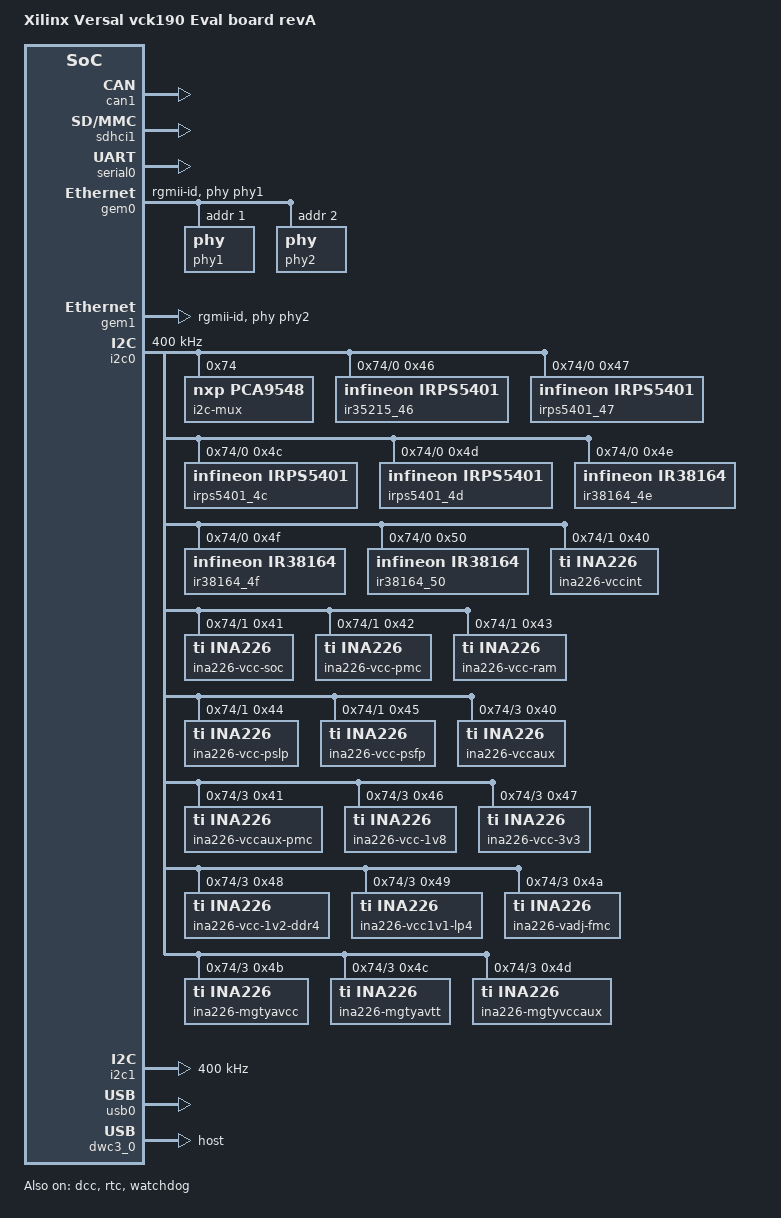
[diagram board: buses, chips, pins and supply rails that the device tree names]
// SPDX-License-Identifier: GPL-2.0
/*
 * dts file for Xilinx Versal VCK190 revA
 *
 * (C) Copyright 2019, Xilinx, Inc.
 *
 * Michal Simek <michal.simek@xilinx.com>
 */

/ {
	compatible = "xlnx,versal-vck190-revA", "xlnx,versal";
	model = "Xilinx Versal vck190 Eval board revA";

	chosen {
		bootargs = "console=ttyAMA0 earlycon=pl011,mmio32,0xFF000000,115200n8 clk_ignore_unused";
		stdout-path = "serial0:115200";
	};

	aliases {
		serial0 = &serial0;
		ethernet0 = &gem0;
		ethernet1 = &gem1;
		i2c0 = &i2c0;
		i2c1 = &i2c1;
		mmc0 = &sdhci1;
		spi0 = &qspi;
		usb0 = &usb0;
		rtc0 = &rtc;
	};
};

/* PMC_MIO 0 -12 - configuration header QSPI/OSPI/EMMC */
/* FIXME PMC_MIO37 ZU4_TRIGGER/PMC_MIO37/38 PCIE */

&can1 { /* MIO40-41 */
	status = "okay";
};

&dcc {
	status = "okay";
};

&rtc {
	status = "okay";
};

&gpio0 {
	status = "okay";
};

&gpio1 {
	status = "okay";
};

&watchdog {
	status = "okay";
};

&sdhci1 { /* PMC_MIO26-36/51 */
	status = "okay";
	xlnx,mio_bank = <1>;
	no-1-8-v;
};

&serial0 { /* PMC_MIO42/43 */
	status = "okay";
};

&gem0 { /* PMC_MIO_48, LPD_MIO0-11/24/25 */
	status = "okay";
	phy-handle = <&phy1>; /* u128 */
	phy-mode = "rgmii-id";
	phy1: phy@1 {
		reg = <1>;
		ti,rx-internal-delay = <0xb>;
		ti,tx-internal-delay = <0xa>;
		ti,fifo-depth = <1>;
		ti,dp83867-rxctrl-strap-quirk;
	};
	phy2: phy@2 {
		reg = <2>;
		ti,rx-internal-delay = <0xb>;
		ti,tx-internal-delay = <0xa>;
		ti,fifo-depth = <1>;
		ti,dp83867-rxctrl-strap-quirk;
	};
};

&gem1 { /* PMC_MIO_49, LPD_MIO12-23 */
	status = "okay";
	phy-handle = <&phy2>; /* u134 */
	phy-mode = "rgmii-id";
};

&i2c0 { /* PMC_MIO46/47 */
	status = "okay";
	clock-frequency = <400000>;
	i2c-mux@74 { /* u33 */
		compatible = "nxp,pca9548";
		#address-cells = <1>;
		#size-cells = <0>;
		reg = <0x74>;
		i2c@0 { /* PMBUS */
			#address-cells = <1>;
			#size-cells = <0>;
			reg = <0>;
		
			/* u152 IR35215 0x16/0x41 vcc_soc */ 
			/* u160 irps5401 0x17/0x45 vcc_psfp */
			/* u167 irps5401 0x1c/0x46 vccaux_pmc */
			/* u175 irps5401 0x1d/0x4d mgtyvccaux */
			/* u185 ir38164 0x1e/0x4a vadj_fmc */
			/* u187 ir38164 0x1F/0x4b mgtyavcc */
			/* u189 ir38164 0x20/0x4c mgtyavtt */

			ir35215_46: ir35215@46 { /* IR35215 - u152 */
				compatible = "infineon,irps5401";
				reg = <0x46>; /* pmbus / i2c 0x1d */
			};
			irps5401_47: irps5401@47 { /* IRPS5401 - u160 */
				compatible = "infineon,irps5401";
				reg = <0x47>; /* pmbus / i2c 0x17 */
			};
			irps5401_4c: irps5401@4c { /* IRPS5401 - u167 */
				compatible = "infineon,irps5401";
				reg = <0x4c>; /* pmbus / i2c 0x1c */
			};
			irps5401_4d: irps5401@4d { /* IRPS5401 - u175 */
				compatible = "infineon,irps5401";
				reg = <0x4d>; /* pmbus / i2c 0x1d */
			};
			ir38164_4e: ir38164@4e { /* IRPS5401 - u185 */
				compatible = "infineon,ir38164";
				reg = <0x4e>; /* pmbus / i2c 0x1e */
			};
			ir38164_4f: ir38164@4f { /* IRPS5401 - u187 */
				compatible = "infineon,ir38164";
				reg = <0x4f>; /* pmbus / i2c 0x1f */
			};
			ir38164_50: ir38164@50 { /* IRPS5401 - u189 */
				compatible = "infineon,ir38164";
				reg = <0x50>; /* pmbus / i2c 0x20 */
			};

		};
		i2c@1 { /* PMBUS1_INA226 */
			#address-cells = <1>;
			#size-cells = <0>;
			reg = <1>;
			vccint: ina226@40 { /* u65 */
				compatible = "ti,ina226";  		
				#io-channel-cells = <1>;
				label = "ina226-vccint";
				reg = <0x40>;
				shunt-resistor = <500>; /* R440 */
				parent-regulator = <&ir35215_46>;
				page-number = <0>;
				/* 0.80V @ 32A 1 of 6 Phases*/
			};
			vcc_soc: ina226@41 { /* u161 */
				compatible = "ti,ina226";
				#io-channel-cells = <1>; 
				label = "ina226-vcc-soc";
				reg = <0x41>;
				shunt-resistor = <500>; /* R1702 */
				parent-regulator = <&ir35215_46>;
				page-number = <1>;
				/* 0.80V @ 18A */
			};
			vcc_pmc: ina226@42 { /* u163 */
				compatible = "ti,ina226";
				#io-channel-cells = <1>;
				label = "ina226-vcc-pmc";
				reg = <0x42>; 
				shunt-resistor = <5000>; /* R1214 */
				parent-regulator = <&irps5401_47>;
				page-number = <4>;
				/* 0.78V @ 500mA */
			};
			vcc_ram: ina226@43 { /* u162 */
				compatible = "ti,ina226";
				#io-channel-cells = <1>; 
				label = "ina226-vcc-ram";
				reg = <0x43>;
				shunt-resistor = <5000>; /* r1221 */
				parent-regulator = <&irps5401_47>;
				page-number = <3>;
				/* 0.78V @ 4A */
			};
			vcc_pslp: ina226@44 { /* u165 */
				compatible = "ti,ina226";
				#io-channel-cells = <1>;
				label = "ina226-vcc-pslp"; 
				reg = <0x44>;
				shunt-resistor = <5000>; /* R1216 */
				parent-regulator = <&irps5401_47>;
				page-number = <0>;
				/* 0.78V @ 1A */
			};
			vcc_psfp: ina226@45 { /* u164 */
				compatible = "ti,ina226"; 
				#io-channel-cells = <1>;
				label = "ina226-vcc-psfp";
				reg = <0x45>;
				shunt-resistor = <5000>; /* R1219 */
				parent-regulator = <&irps5401_47>;
				page-number = <1>;
				/* 0.78V @ 2A */
			};
		};
		i2c@3 { /* PMBUS2_INA226 */
			#address-cells = <1>;
			#size-cells = <0>;
			reg = <3>;
			vccaux: ina226@40 { /* u166 */
				compatible = "ti,ina226";
				#io-channel-cells = <1>;
				label = "ina226-vccaux"; 
				reg = <0x40>;
				shunt-resistor = <5000>; /* R382 */
				parent-regulator = <&irps5401_47>;
				page-number = <2>;
				/* 1.5V @ 3A */
			};
			vccaux_pmc: ina226@41 { /* u168 */
				compatible = "ti,ina226";
				#io-channel-cells = <1>;
				label = "ina226-vccaux-pmc";
				reg = <0x41>; 
				shunt-resistor = <5000>; /* R1246 */
				parent-regulator = <&irps5401_4c>;
				page-number = <4>;
				/* 1.5V @ 500mA */
			};				
			vcc_1v8: ina226@46 { /* u173 */
				compatible = "ti,ina226";
				#io-channel-cells = <1>;
				label = "ina226-vcc-1v8";
				reg = <0x46>; 
				shunt-resistor = <5000>; /* R400 */
				parent-regulator = <&irps5401_4c>;
				page-number = <2>;
				/* 1.8V @ 6A */
			};
			vcc_3v3: ina226@47 { /* u174 */
				compatible = "ti,ina226";
				#io-channel-cells = <1>;
				label = "ina226-vcc-3v3";
				reg = <0x47>; 
				shunt-resistor = <5000>; /* R1232 */
				parent-regulator = <&irps5401_4c>;
				page-number = <1>;
				/* 3.3V @ 500mA */
			};
			vcc_1v2_ddr4: ina226@48 { /* u176 */
				compatible = "ti,ina226";
				#io-channel-cells = <1>;
				label = "ina226-vcc-1v2-ddr4";
				reg = <0x48>;  
				shunt-resistor = <5000>; /* R1275 */
				parent-regulator = <&irps5401_4d>;
				page-number = <2>;
				/* 1.2V @ 4A */
			};
			vcc1v1_lp4: ina226@49 { /* u177 */
				compatible = "ti,ina226";
				#io-channel-cells = <1>;
				label = "ina226-vcc1v1-lp4";
				reg = <0x49>; 
				shunt-resistor = <5000>; /* R1286 */
				parent-regulator = <&irps5401_4d>;
				page-number = <3>;
				/* 1.1V@ 4A */
			};
			vadj_fmc: ina226@4a { /* u184 */
				compatible = "ti,ina226";
				#io-channel-cells = <1>;
				label = "ina226-vadj-fmc";
				reg = <0x4a>; 
				shunt-resistor = <2000>; /* R1350 */
				parent-regulator = <&ir38164_4e>;
				page-number = <0>;
				/* 1.5V @ 10A */
			};
			mgtyavcc: ina226@4b { /* u186 */
				compatible = "ti,ina226";
				#io-channel-cells = <1>;
				label = "ina226-mgtyavcc";
				reg = <0x4b>; 
				shunt-resistor = <2000>; /* R1367 */
				parent-regulator = <&ir38164_4f>;
				page-number = <0>;
				/* 0.88V @ 6A */
			};
			mgtyavtt: ina226@4c { /* u188 */
				compatible = "ti,ina226";
				#io-channel-cells = <1>;
				label = "ina226-mgtyavtt";
				reg = <0x4c>; 
				shunt-resistor = <2000>; /* R1384 */
				parent-regulator = <&ir38164_50>;
				page-number = <0>;
				/* 1.2V @ 10A */
			};
			mgtyvccaux: ina226@4d { /* u234 */
				compatible = "ti,ina226";
				#io-channel-cells = <1>;
				label = "ina226-mgtyvccaux";
				reg = <0x4d>; 
				shunt-resistor = <5000>; /* r1679 */
				parent-regulator = <&irps5401_4d>;
				page-number = <4>;
				/* 1.5V @ 500mA */
			};
		};
	};
};

&i2c1 { /* PMC_MIO44/45 */
	status = "okay";
	clock-frequency = <400000>;
};

&usb0 { /* PMC_MIO13_500 - PMC_MIO25 USB 2.0 */
	status = "okay";
	xlnx,usb-polarity = <0x0>;
	xlnx,usb-reset-mode = <0x0>;
};

&dwc3_0 { /* USB 2.0 host */
	status = "okay";
	dr_mode = "host";
	maximum-speed = "high-speed";
	snps,dis_u2_susphy_quirk;
	snps,dis_u3_susphy_quirk;
	snps,usb3_lpm_capable;
};
